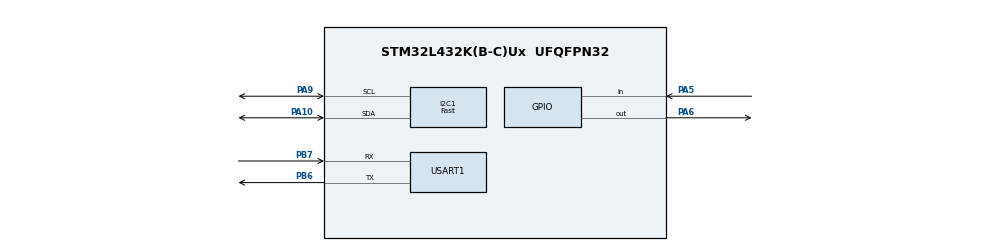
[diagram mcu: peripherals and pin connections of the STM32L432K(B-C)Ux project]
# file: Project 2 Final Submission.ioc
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I2C1.I2C_Speed_Mode=I2C_Fast
I2C1.Timing=0x00000004
Mcu.Family=STM32L4
Mcu.Name=STM32L432K(B-C)Ux
Mcu.Package=UFQFPN32
NVIC.I2C1_EV_IRQn=true\:0\:0\:false\:false\:true\:true\:true
NVIC.PriorityGroup=NVIC_PRIORITYGROUP_4
NVIC.USART1_IRQn=true\:0\:0\:false\:false\:true\:true\:true
PA10.Mode=I2C
PA10.Signal=I2C1_SDA
PA13\ (JTMS-SWDIO).Mode=Serial_Wire
PA13\ (JTMS-SWDIO).Signal=SYS_JTMS-SWDIO
PA14\ (JTCK-SWCLK).Mode=Serial_Wire
PA14\ (JTCK-SWCLK).Signal=SYS_JTCK-SWCLK
PA5.Signal=GPIO_Input
PA6.Signal=GPIO_Output
PA9.Mode=I2C
PA9.Signal=I2C1_SCL
PB6.Mode=Asynchronous
PB6.Signal=USART1_TX
PB7.Mode=Asynchronous
PB7.Signal=USART1_RX
PC14-OSC32_IN\ (PC14).Mode=LSE-External-Oscillator
PC14-OSC32_IN\ (PC14).Signal=RCC_OSC32_IN
PC15-OSC32_OUT\ (PC15).Mode=LSE-External-Oscillator
PC15-OSC32_OUT\ (PC15).Signal=RCC_OSC32_OUT
ProjectManager.HeapSize=0x200
ProjectManager.StackSize=0x400
ProjectManager.TargetToolchain=MDK-ARM V5
RCC.HSE_VALUE=8000000
RCC.HSI48_VALUE=48000000
RCC.HSI_VALUE=16000000
RCC.MSI_VALUE=4000000
RCC.VCOOutputFreq_Value=32000000
USART1.VirtualMode-Asynchronous=VM_ASYNC
board=custom

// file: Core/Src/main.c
/* USER CODE BEGIN Header */
/**
  ******************************************************************************
  * @file           : main.c
  * @brief          : Main program body
  ******************************************************************************
  * @attention
  *
  * <h2><center>&copy; Copyright (c) 2021 STMicroelectronics.
  * All rights reserved.</center></h2>
  *
  * This software component is licensed by ST under BSD 3-Clause license,
  * the "License"; You may not use this file except in compliance with the
  * License. You may obtain a copy of the License at:
  *                        opensource.org/licenses/BSD-3-Clause
  *
  ******************************************************************************
  */
/* USER CODE END Header */
#include "main.h"

#include "ssd1306.h"
#include "fonts.h"
#include "stdio.h"
#include "math.h"
#include "max30102.h"
#define adxl_address 0x53<<1

I2C_HandleTypeDef hi2c1;

UART_HandleTypeDef huart1;

uint8_t data_rec[6];
uint8_t chipid=0;
int16_t x,y,z;
float xg, yg, zg;
char x_char[3], y_char[3], z_char[3];
int xavg, yavg,zavg, steps=0, flag=0;
int xval[15]={0}, yval[15]={0}, zval[15]={0};
uint8_t welcome_text[] = "\r\n Ya toltomeet alf ahlan we sahlan\n";

int threshhold = 20;

void SystemClock_Config(void);
static void MX_GPIO_Init(void);
static void MX_I2C1_Init(void);
static void MX_USART1_UART_Init(void);

/* USER CODE BEGIN 0 */
void adxl_write (uint8_t reg, uint8_t value)
{
	uint8_t data[2];
	data[0] = reg;
	data[1] = value;
	HAL_I2C_Master_Transmit (&hi2c1, adxl_address, data, 2, 100);
}

void adxl_read_values (uint8_t reg)
{
	HAL_I2C_Mem_Read (&hi2c1, adxl_address, reg, 1, (uint8_t *)data_rec, 6, 100);
}

void adxl_read_address (uint8_t reg)
{
	HAL_I2C_Mem_Read (&hi2c1, adxl_address, reg, 1, &chipid, 1, 100);
}

void adxl_init (void)
{
	adxl_read_address (0x00); // read the DEVID

	adxl_write (0x31, 0x01);  // data_format range= +- 4g
	adxl_write (0x2d, 0x00);  // reset all bits
	adxl_write (0x2d, 0x08);  // power_cntl measure and wake up 8hz

}

void display_data (float data)
{
	sprintf (x_char, "% 4f", data);
    SSD1306_Puts (x_char, &Font_11x18, 1);
	SSD1306_UpdateScreen ();  // update display
}
uint8_t hexToAscii(uint8_t n)//4-bit hex value converted to an ascii character
{
 if (n>=0 && n<=9) n = n + '0';
 else n = n - 10 + 'A';
 return n;
}
float hextoint(uint8_t* in)
{
	float out = 0.0;
	if(in[0]>=48 && in[0]<=57)
		out+=((in[0]-'0')*16);
	else out+=((in[0]-'A'+10)*16);
	if(in[1]>=48 && in[1]<=57)
		out+=(in[1]-'0');
	else out+=(in[1]-'A'+10);
	if(in[3]>=48 && in[3]<=57)
		out+=((in[3]-'0')/16.0);
	else out+=((in[3]-'A'+10)/16.0);
	return out;

}
int Pedometer(){
    int acc=0;
    int totvect[15]={0};
    int totave[15]={0};
    int xaccl[15]={0};
    int yaccl[15]={0};
    int zaccl[15]={0};
    for (int i=0;i<15;i++)
    {
      xaccl[i]= x;
      HAL_Delay(1);
      yaccl[i]= y;
      HAL_Delay(1);
      zaccl[i]= z;
      HAL_Delay(1);
      totvect[i] = sqrt(((xaccl[i]-xavg)* (xaccl[i]-xavg))+ ((yaccl[i] - yavg)*(yaccl[i] - yavg)) + ((zval[i] - zavg)*(zval[i] - zavg)));
      totave[i] = (totvect[i] + totvect[i-1]) / 2 ;
      HAL_Delay(150);

      //cal steps
      if (totave[i]>threshhold && flag==0)
      {
         steps=steps+1;
         flag=1;
      }
      else if (totave[i] > threshhold && flag==1)
      {
          //do nothing
      }
      if (totave[i] <threshhold  && flag==1)
      {
        flag=0;
      }
     return(steps);
    }
  HAL_Delay(100);
 }
/* USER CODE END 0 */

int main(void)
{

  /* MCU Configuration--------------------------------------------------------*/

  /* Reset of all peripherals, Initializes the Flash interface and the Systick. */
  HAL_Init();

  /* Configure the system clock */
  SystemClock_Config();

  /* Initialize all configured peripherals */
  MX_GPIO_Init();
  MX_I2C1_Init();
  MX_USART1_UART_Init();
	initialize();
	__HAL_UART_ENABLE_IT(&huart1, UART_IT_RXNE);
	HAL_UART_Transmit(&huart1,welcome_text, sizeof(welcome_text), HAL_MAX_DELAY);
	SSD1306_Init();
	adxl_write (0x2d, 0x00);  // reset all bits

	adxl_write (0x2d, 0x08);  // measure and wake up 8hz

	adxl_write (0x31, 0x01);  // data_format range= +- 4g
  /* USER CODE BEGIN 2 */
	//SSD1306_Init();
  /* USER CODE END 2 */
	uint8_t secbuffer [2], minbuffer [2], hourbuffer [2];
	// seconds
	secbuffer[0] = 0x00; //register address
	secbuffer[1] = 0x00; //data to put in register --> 0 sec
	HAL_I2C_Master_Transmit(&hi2c1, 0xD0, secbuffer, 2, 10);
	// minutes
	minbuffer[0] = 0x01; //register address
	minbuffer[1] = 0x15; //data to put in register --> 15 min
	HAL_I2C_Master_Transmit(&hi2c1, 0xD0, minbuffer, 2, 10);
	// hours
	hourbuffer[0] = 0x02; //register address
	hourbuffer[1] = 0x47; //data to put in register 01001001 --> 7 am
	HAL_I2C_Master_Transmit(&hi2c1, 0xD0, hourbuffer, 2, 10);
	//Receive via I2C and forward to UART
	char out[] = {0,0,':',0,0,':',0,0, '\0'};
	float temp;
	uint8_t tempLSB[2], tempMSB[2];
	uint8_t eosc[2];
	uint8_t osf[2];
	char out_temp[50];
	float current;
	int steps_displayed;
	char steps_string[50];
	uint8_t tempbuffer1[2],tempbuffer2[2];
	tempbuffer1[0]=0x11;
	tempbuffer2[0]=0x12;
	HAL_I2C_Master_Transmit(&hi2c1, 0xD0, tempbuffer1, 2, 10);
	HAL_I2C_Master_Transmit(&hi2c1, 0xD0, tempbuffer2, 2, 10);
  /* Infinite loop */
  while (1)
  {
		read_sequential();
		/*
		HAL_I2C_Master_Transmit(&hi2c1, 0xD0, secbuffer, 1, 10);
		HAL_I2C_Master_Receive(&hi2c1, 0xD1, secbuffer+1, 1, 10);
		out[6] = hexToAscii(secbuffer[1] >> 4 );
		out[7] = hexToAscii(secbuffer[1] & 0x0F );
		HAL_I2C_Master_Transmit(&hi2c1, 0xD0, minbuffer, 1, 10);
		HAL_I2C_Master_Receive(&hi2c1, 0xD1, minbuffer+1, 1, 10);
		out[3] = hexToAscii(minbuffer[1] >> 4 );
		out[4] = hexToAscii(minbuffer[1] & 0x0F );
		HAL_I2C_Master_Transmit(&hi2c1, 0xD0, hourbuffer, 1, 10);
		HAL_I2C_Master_Receive(&hi2c1, 0xD1, hourbuffer+1, 1, 10);
		out[0] = hexToAscii((hourbuffer[1] >> 4) & 1);
		out[1] = hexToAscii(hourbuffer[1] & 0x0F);
		tempMSB[0] = 0x11;
		tempLSB[0] = 0x12;
		eosc[0] = 0x0E;
		eosc[1] = 0x3C;
		HAL_I2C_Master_Transmit(&hi2c1, 0xD0, eosc, 2, 10);
		osf[0] = 0x0E;
		osf[1] = 0x3C;
		HAL_I2C_Master_Transmit(&hi2c1, 0xD0, osf, 2, 10);
		HAL_I2C_Master_Transmit(&hi2c1, 0xD0, tempMSB, 1, 10);
		HAL_I2C_Master_Receive(&hi2c1, 0xD1, tempMSB+1, 1, 10);
		temp=tempMSB[1];
		HAL_I2C_Master_Transmit(&hi2c1, 0xD0, tempLSB, 1, 10);
		HAL_I2C_Master_Receive(&hi2c1, 0xD1, tempLSB+1, 1, 10);
		tempLSB[1] = tempLSB[1] >> 6;
		temp = temp + tempLSB[1] *0.25;

		sprintf(out_temp, "%.2f deg.C", temp);
		adxl_read_values (0x32);
		x = ((data_rec[1]<<8)|data_rec[0]);
		y = ((data_rec[3]<<8)|data_rec[2]);
		z = ((data_rec[5]<<8)|data_rec[4]);
		xg = x * .0078;
		yg = y * .0078;
		zg = z * .0078;
		steps_displayed = Pedometer();
		sprintf(steps_string, "x:%.2f,y:%.2f", xg,yg);

		SSD1306_GotoXY (10,0); // goto 10, 10
		SSD1306_Puts (out, &Font_7x10, 1); // print Hello
		SSD1306_GotoXY (10,15); // goto 10, 10
		SSD1306_Puts (out_temp, &Font_7x10, 1); // print Hello
		sprintf(steps_string, "steps:%d", steps_displayed);
		SSD1306_GotoXY (10,30); // goto 10, 10
		SSD1306_Puts (steps_string, &Font_7x10, 1); // print Hello
		SSD1306_UpdateScreen(); // update screen
		HAL_Delay(100);
		*/
  }
}

void SystemClock_Config(void)
{
  RCC_OscInitTypeDef RCC_OscInitStruct = {0};
  RCC_ClkInitTypeDef RCC_ClkInitStruct = {0};
  RCC_PeriphCLKInitTypeDef PeriphClkInit = {0};

  /** Configure LSE Drive Capability
  */
  HAL_PWR_EnableBkUpAccess();
  __HAL_RCC_LSEDRIVE_CONFIG(RCC_LSEDRIVE_LOW);
  /** Initializes the RCC Oscillators according to the specified parameters
  * in the RCC_OscInitTypeDef structure.
  */
  RCC_OscInitStruct.OscillatorType = RCC_OSCILLATORTYPE_LSE|RCC_OSCILLATORTYPE_MSI;
  RCC_OscInitStruct.LSEState = RCC_LSE_ON;
  RCC_OscInitStruct.MSIState = RCC_MSI_ON;
  RCC_OscInitStruct.MSICalibrationValue = 0;
  RCC_OscInitStruct.MSIClockRange = RCC_MSIRANGE_6;
  RCC_OscInitStruct.PLL.PLLState = RCC_PLL_NONE;
  if (HAL_RCC_OscConfig(&RCC_OscInitStruct) != HAL_OK)
  {
    Error_Handler();
  }
  /** Initializes the CPU, AHB and APB buses clocks
  */
  RCC_ClkInitStruct.ClockType = RCC_CLOCKTYPE_HCLK|RCC_CLOCKTYPE_SYSCLK
                              |RCC_CLOCKTYPE_PCLK1|RCC_CLOCKTYPE_PCLK2;
  RCC_ClkInitStruct.SYSCLKSource = RCC_SYSCLKSOURCE_MSI;
  RCC_ClkInitStruct.AHBCLKDivider = RCC_SYSCLK_DIV1;
  RCC_ClkInitStruct.APB1CLKDivider = RCC_HCLK_DIV1;
  RCC_ClkInitStruct.APB2CLKDivider = RCC_HCLK_DIV1;

  if (HAL_RCC_ClockConfig(&RCC_ClkInitStruct, FLASH_LATENCY_0) != HAL_OK)
  {
    Error_Handler();
  }
  PeriphClkInit.PeriphClockSelection = RCC_PERIPHCLK_USART1|RCC_PERIPHCLK_I2C1;
  PeriphClkInit.Usart1ClockSelection = RCC_USART1CLKSOURCE_PCLK2;
  PeriphClkInit.I2c1ClockSelection = RCC_I2C1CLKSOURCE_PCLK1;
  if (HAL_RCCEx_PeriphCLKConfig(&PeriphClkInit) != HAL_OK)
  {
    Error_Handler();
  }
  /** Configure the main internal regulator output voltage
  */
  if (HAL_PWREx_ControlVoltageScaling(PWR_REGULATOR_VOLTAGE_SCALE1) != HAL_OK)
  {
    Error_Handler();
  }
  /** Enable MSI Auto calibration
  */
  HAL_RCCEx_EnableMSIPLLMode();
}

static void MX_I2C1_Init(void)
{

  hi2c1.Instance = I2C1;
  hi2c1.Init.Timing = 0x00000004;
  hi2c1.Init.OwnAddress1 = 0;
  hi2c1.Init.AddressingMode = I2C_ADDRESSINGMODE_7BIT;
  hi2c1.Init.DualAddressMode = I2C_DUALADDRESS_DISABLE;
  hi2c1.Init.OwnAddress2 = 0;
  hi2c1.Init.OwnAddress2Masks = I2C_OA2_NOMASK;
  hi2c1.Init.GeneralCallMode = I2C_GENERALCALL_DISABLE;
  hi2c1.Init.NoStretchMode = I2C_NOSTRETCH_DISABLE;
  if (HAL_I2C_Init(&hi2c1) != HAL_OK)
  {
    Error_Handler();
  }
  /** Configure Analogue filter
  */
  if (HAL_I2CEx_ConfigAnalogFilter(&hi2c1, I2C_ANALOGFILTER_ENABLE) != HAL_OK)
  {
    Error_Handler();
  }
  /** Configure Digital filter
  */
  if (HAL_I2CEx_ConfigDigitalFilter(&hi2c1, 0) != HAL_OK)
  {
    Error_Handler();
  }

}

static void MX_USART1_UART_Init(void)
{

  huart1.Instance = USART1;
  huart1.Init.BaudRate = 115200;
  huart1.Init.WordLength = UART_WORDLENGTH_8B;
  huart1.Init.StopBits = UART_STOPBITS_1;
  huart1.Init.Parity = UART_PARITY_NONE;
  huart1.Init.Mode = UART_MODE_TX_RX;
  huart1.Init.HwFlowCtl = UART_HWCONTROL_NONE;
  huart1.Init.OverSampling = UART_OVERSAMPLING_16;
  huart1.Init.OneBitSampling = UART_ONE_BIT_SAMPLE_DISABLE;
  huart1.AdvancedInit.AdvFeatureInit = UART_ADVFEATURE_NO_INIT;
  if (HAL_UART_Init(&huart1) != HAL_OK)
  {
    Error_Handler();
  }

}

static void MX_GPIO_Init(void)
{
  GPIO_InitTypeDef GPIO_InitStruct = {0};

  /* GPIO Ports Clock Enable */
  __HAL_RCC_GPIOC_CLK_ENABLE();
  __HAL_RCC_GPIOA_CLK_ENABLE();
  __HAL_RCC_GPIOB_CLK_ENABLE();

  /*Configure GPIO pin Output Level */
  HAL_GPIO_WritePin(GPIOA, GPIO_PIN_6, GPIO_PIN_RESET);

  /*Configure GPIO pin : PA5 */
  GPIO_InitStruct.Pin = GPIO_PIN_5;
  GPIO_InitStruct.Mode = GPIO_MODE_INPUT;
  GPIO_InitStruct.Pull = GPIO_NOPULL;
  HAL_GPIO_Init(GPIOA, &GPIO_InitStruct);

  /*Configure GPIO pin : PA6 */
  GPIO_InitStruct.Pin = GPIO_PIN_6;
  GPIO_InitStruct.Mode = GPIO_MODE_OUTPUT_PP;
  GPIO_InitStruct.Pull = GPIO_NOPULL;
  GPIO_InitStruct.Speed = GPIO_SPEED_FREQ_LOW;
  HAL_GPIO_Init(GPIOA, &GPIO_InitStruct);

}

void Error_Handler(void)
{
  __disable_irq();
  while (1)
  {
  }
}

/************************ (C) COPYRIGHT STMicroelectronics *****END OF FILE****/
